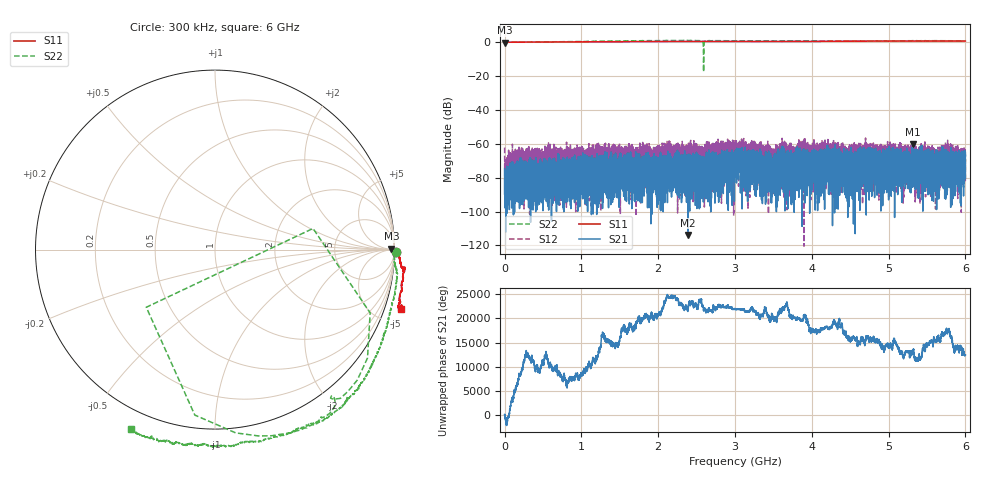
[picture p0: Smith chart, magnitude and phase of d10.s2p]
!Agilent Technologies,N5230C,SG49000117,A.08.50.07
!Agilent N5230C: A.08.50.07
!Date: Thursday, May 16, 2024 18:14:17
!Correction: S11(Full 2 Port(1,2))
!S21(Full 2 Port(1,2))
!S12(Full 2 Port(1,2))
!S22(Full 2 Port(1,2))
!S2P File: Measurements: S11, S21, S12, S22:
# Hz S  MA  R 50
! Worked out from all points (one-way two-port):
!   20001 points, 300 kHz to 6 GHz, reference 50 ohm
!   highest |S21| = -60.26 dB at 5.315 GHz (marker M1); lowest = -113.9 dB at 2.387 GHz (marker M2)
!   lowest |S11| = -0.2 dB at 600 kHz (marker M3), VSWR 113.19, Z = 5.17e+03 + j1.59e+03 ohm
!   |S11| at or under -10 dB: nowhere
!   |S22| runs from -17.5 to 1.1 dB; largest |S21 - S12| = 0.0016
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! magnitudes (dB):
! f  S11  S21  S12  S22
! 300 kHz  0.1  -74.6  -62.2  0.1
! 600 kHz  -0.2  -86.6  -72.4  -0.3
! 31.5 MHz  0.0  -82.7  -71.2  0.0
! 208.5 MHz  0.1  -73.9  -78.6  0.1
! 1 GHz  0.2  -74.1  -66.0  0.4
! 2 GHz  0.5  -74.5  -76.2  0.9
! 2.138 GHz  0.5  -71.6  -67.6  1.0
! 2.387 GHz  0.5  -113.9  -76.4  1.0
! 2.567 GHz  0.5  -76.2  -82.4  0.8
! 3 GHz  0.5  -68.3  -69.0  0.8
! 3.323 GHz  0.5  -70.0  -67.5  0.8
! 3.383 GHz  0.5  -84.1  -79.5  0.8
! 3.625 GHz  0.5  -62.5  -72.6  0.8
! 3.761 GHz  0.5  -76.6  -69.3  0.8
! 3.842 GHz  0.5  -65.7  -63.3  0.8
! 4 GHz  0.5  -75.5  -61.5  0.8
! 4.197 GHz  0.6  -82.3  -59.5  0.7
! 4.454 GHz  0.7  -69.0  -70.5  0.7
! 5 GHz  0.7  -77.3  -63.7  0.8
! 5.315 GHz  0.7  -60.3  -64.5  0.9
! 5.93 GHz  0.7  -75.1  -70.8  0.9
! 6 GHz  0.7  -67.5  -64.7  0.9
